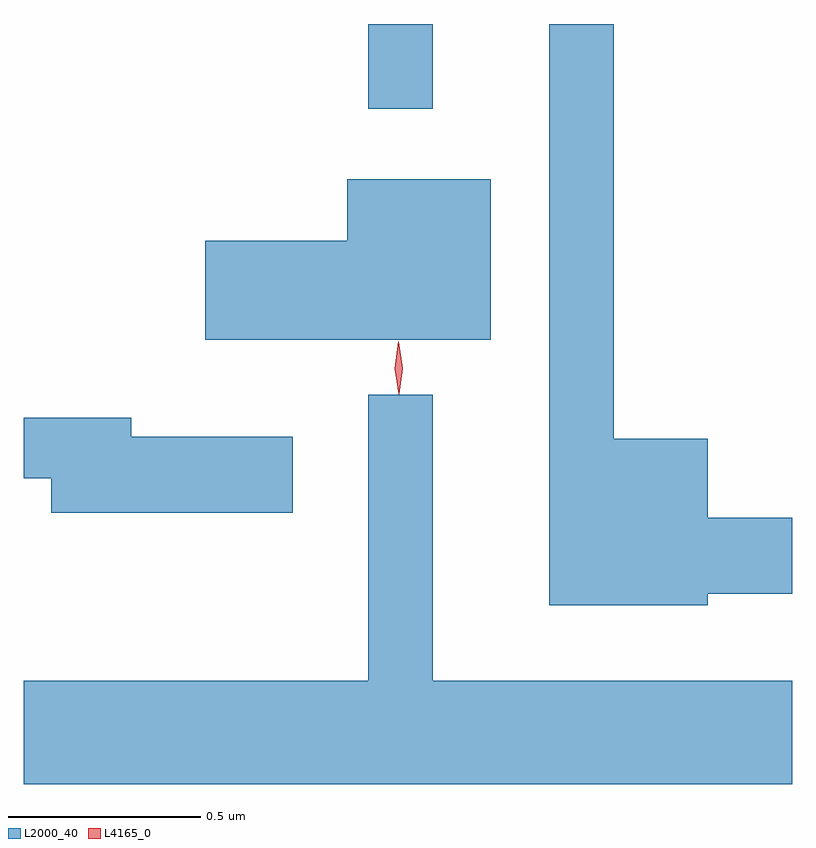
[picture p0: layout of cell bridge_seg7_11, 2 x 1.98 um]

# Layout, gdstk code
import gdstk
lib = gdstk.Library(unit=1e-6, precision=1e-09)
def R(c, l, rs):  # rectangles x0, y0, x1, y1
    for r in rs: c.add(gdstk.rectangle(r[:2], r[2:], *l))
def P(c, l, *ps):  # polygons
    for p in ps: c.add(gdstk.Polygon(p, *l))
L2000_40 = (2000, 40)
L4165_0 = (4165, 0)

bridge_seg7_11 = lib.new_cell('bridge_seg7_11')
R(bridge_seg7_11, L2000_40, [(1671.301,1760.473,1671.469,1760.693)])
P(bridge_seg7_11, L2000_40, [(1672.184,1759.211),(1672.404,1759.211),(1672.404,1759.409),(1672.184,1759.409),(1672.184,1759.614),(1671.939,1759.614),(1671.939,1760.693),(1671.771,1760.693),(1671.771,1759.181),(1672.184,1759.181)],
  [(1671.619,1760.289),(1671.246,1760.289),(1671.246,1760.129),(1670.876,1760.129),(1670.876,1759.871),(1671.619,1759.871)],
  [(1672.404,1758.984),(1671.469,1758.984),(1671.469,1759.728),(1671.301,1759.728),(1671.301,1758.984),(1670.404,1758.984),(1670.404,1758.716),(1672.404,1758.716)],
  [(1671.104,1759.619),(1670.684,1759.619),(1670.684,1759.669),(1670.404,1759.669),(1670.404,1759.511),(1670.476,1759.511),(1670.476,1759.421),(1671.104,1759.421)])
P(bridge_seg7_11, L4165_0, [(1671.38,1759.733),(1671.38,1759.733),(1671.37,1759.796),(1671.379,1759.859),(1671.379,1759.859),(1671.38,1759.859),(1671.39,1759.796),(1671.381,1759.733)],
  [(1671.38,1759.73),(1671.38,1759.73),(1671.37,1759.798),(1671.379,1759.866),(1671.38,1759.866),(1671.38,1759.866),(1671.39,1759.798),(1671.381,1759.73)])

lib.write_gds('bridge_seg7_11.gds')
